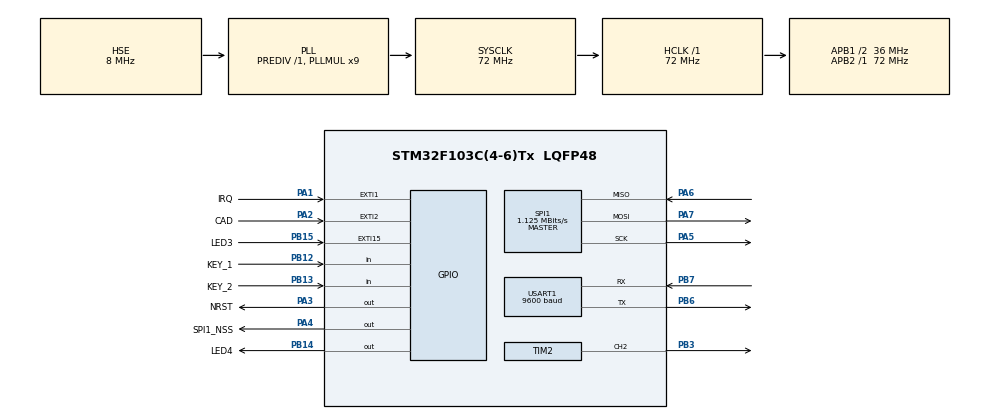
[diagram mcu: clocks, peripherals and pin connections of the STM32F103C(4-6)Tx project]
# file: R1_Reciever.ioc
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Mcu.Family=STM32F1
Mcu.Name=STM32F103C(4-6)Tx
Mcu.Package=LQFP48
NVIC.EXTI15_10_IRQn=true\:0\:0\:false\:false\:true\:true\:true\:true
NVIC.PriorityGroup=NVIC_PRIORITYGROUP_4
NVIC.TIM1_UP_IRQn=true\:0\:0\:false\:false\:true\:true\:true\:true
NVIC.USART1_IRQn=true\:0\:0\:false\:false\:true\:true\:true\:true
PA1.GPIO_Label=IRQ
PA1.Signal=GPXTI1
PA13.Mode=Serial_Wire
PA13.Signal=SYS_JTMS-SWDIO
PA14.Mode=Serial_Wire
PA14.Signal=SYS_JTCK-SWCLK
PA2.GPIO_Label=CAD
PA2.Signal=GPXTI2
PA3.GPIO_Label=NRST
PA3.GPIO_PuPd=GPIO_PULLUP
PA3.PinState=GPIO_PIN_SET
PA3.Signal=GPIO_Output
PA4.GPIO_Label=SPI1_NSS
PA4.PinState=GPIO_PIN_SET
PA4.Signal=GPIO_Output
PA5.Mode=Full_Duplex_Master
PA5.Signal=SPI1_SCK
PA6.Mode=Full_Duplex_Master
PA6.Signal=SPI1_MISO
PA7.Mode=Full_Duplex_Master
PA7.Signal=SPI1_MOSI
PB12.GPIO_Label=KEY_1
PB12.Signal=GPIO_Input
PB13.GPIO_Label=KEY_2
PB13.Signal=GPIO_Input
PB14.GPIO_Label=LED4
PB14.Signal=GPIO_Output
PB15.GPIO_Label=LED3
PB15.Signal=GPXTI15
PB3.Signal=S_TIM2_CH2
PB6.Mode=Asynchronous
PB6.Signal=USART1_TX
PB7.Mode=Asynchronous
PB7.Signal=USART1_RX
PD0-OSC_IN.Mode=HSE-External-Oscillator
PD0-OSC_IN.Signal=RCC_OSC_IN
PD1-OSC_OUT.Mode=HSE-External-Oscillator
PD1-OSC_OUT.Signal=RCC_OSC_OUT
ProjectManager.HeapSize=0x200
ProjectManager.StackSize=0x400
ProjectManager.TargetToolchain=CMake
RCC.AHBFreq_Value=72000000
RCC.APB1CLKDivider=RCC_HCLK_DIV2
RCC.APB1Freq_Value=36000000
RCC.APB1TimFreq_Value=72000000
RCC.APB2Freq_Value=72000000
RCC.APB2TimFreq_Value=72000000
RCC.HCLKFreq_Value=72000000
RCC.PLLMUL=RCC_PLL_MUL9
RCC.PLLSourceVirtual=RCC_PLLSOURCE_HSE
RCC.SYSCLKFreq_VALUE=72000000
RCC.SYSCLKSource=RCC_SYSCLKSOURCE_PLLCLK
RCC.USBFreq_Value=72000000
SH.S_TIM2_CH2.0=TIM2_CH2,PWM Generation2 CH2
SPI1.BaudRatePrescaler=SPI_BAUDRATEPRESCALER_64
SPI1.CalculateBaudRate=1.125 MBits/s
SPI1.Direction=SPI_DIRECTION_2LINES
SPI1.Mode=SPI_MODE_MASTER
SPI1.VirtualType=VM_MASTER
TIM1.Period=200-1
TIM1.Prescaler=7200-1
TIM2.Channel-PWM\ Generation2\ CH2=TIM_CHANNEL_2
TIM2.Period=300-1
TIM2.Prescaler=72-1
TIM2.Pulse-PWM\ Generation2\ CH2=150-1
USART1.BaudRate=9600
USART1.VirtualMode=VM_ASYNC
VP_TIM1_VS_ClockSourceINT.Mode=Internal
board=custom

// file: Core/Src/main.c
/* USER CODE BEGIN Header */
/**
  ******************************************************************************
  * @file           : main.c
  * @brief          : Main program body
  ******************************************************************************
  * @attention
  *
  * Copyright (c) 2026 STMicroelectronics.
  * All rights reserved.
  *
  * This software is licensed under terms that can be found in the LICENSE file
  * in the root directory of this software component.
  * If no LICENSE file comes with this software, it is provided AS-IS.
  *
  ******************************************************************************
  */
/* USER CODE END Header */
#include "main.h"
#include "spi.h"
#include "tim.h"
#include "usart.h"
#include "gpio.h"

/* USER CODE BEGIN Includes */
#include "e290_demo.h"
#include "e290_hal.h"
#include "pan_param.h"
#include "pan_rf.h"
#include"pan_port.h"
extern struct RxDoneMsg RxDoneParams;
/* USER CODE END Includes */

/* USER CODE BEGIN PD */
uint8_t conFlag = 0;//连接状态标志，0表示未连接，1表示已连接
uint8_t Rxdata[11] = {0,1,2,3};
uint8_t Txdata[13] = {0};
volatile uint8_t rf_irq_pending = 0;//中断标志，1表示有中断发生，0表示没有中断发生
uint32_t time = 0;

uint8_t error = 0;
/* USER CODE END PD */

void SystemClock_Config(void);

int main(void)
{

  /* MCU Configuration--------------------------------------------------------*/

  /* Reset of all peripherals, Initializes the Flash interface and the Systick. */
  HAL_Init();

  /* Configure the system clock */
  SystemClock_Config();

  /* Initialize all configured peripherals */
  MX_GPIO_Init();
  MX_SPI1_Init();
  MX_USART1_UART_Init();
  MX_TIM2_Init();
  MX_TIM1_Init();
  /* USER CODE BEGIN 2 */
  HAL_TIM_Base_Start(&htim2);
  //开机reset通信模块
  HAL_GPIO_WritePin(GPIOA, GPIO_PIN_3, GPIO_PIN_RESET);
  HAL_Delay(10);
  HAL_GPIO_WritePin(GPIOA, GPIO_PIN_3, GPIO_PIN_SET);

  rf_init();
  rf_set_default_para();
  //rf_enter_continous_tx();//设置为连续发送模式
  HAL_TIM_Base_Start_IT(&htim1);
  HAL_UART_Receive_IT(&huart1, Rxdata, 11);//开启串口接收中断
  /* USER CODE END 2 */

  /* Infinite loop */
  /* USER CODE BEGIN WHILE */
  while (1)
  {
    rf_single_tx_data(Rxdata, 11, &time);
    HAL_Delay(100);
    /* USER CODE END WHILE */

  }
}

void SystemClock_Config(void)
{
  RCC_OscInitTypeDef RCC_OscInitStruct = {0};
  RCC_ClkInitTypeDef RCC_ClkInitStruct = {0};

  /** Initializes the RCC Oscillators according to the specified parameters
  * in the RCC_OscInitTypeDef structure.
  */
  RCC_OscInitStruct.OscillatorType = RCC_OSCILLATORTYPE_HSE;
  RCC_OscInitStruct.HSEState = RCC_HSE_ON;
  RCC_OscInitStruct.HSEPredivValue = RCC_HSE_PREDIV_DIV1;
  RCC_OscInitStruct.HSIState = RCC_HSI_ON;
  RCC_OscInitStruct.PLL.PLLState = RCC_PLL_ON;
  RCC_OscInitStruct.PLL.PLLSource = RCC_PLLSOURCE_HSE;
  RCC_OscInitStruct.PLL.PLLMUL = RCC_PLL_MUL9;
  if (HAL_RCC_OscConfig(&RCC_OscInitStruct) != HAL_OK)
  {
    Error_Handler();
  }

  /** Initializes the CPU, AHB and APB buses clocks
  */
  RCC_ClkInitStruct.ClockType = RCC_CLOCKTYPE_HCLK|RCC_CLOCKTYPE_SYSCLK
                              |RCC_CLOCKTYPE_PCLK1|RCC_CLOCKTYPE_PCLK2;
  RCC_ClkInitStruct.SYSCLKSource = RCC_SYSCLKSOURCE_PLLCLK;
  RCC_ClkInitStruct.AHBCLKDivider = RCC_SYSCLK_DIV1;
  RCC_ClkInitStruct.APB1CLKDivider = RCC_HCLK_DIV2;
  RCC_ClkInitStruct.APB2CLKDivider = RCC_HCLK_DIV1;

  if (HAL_RCC_ClockConfig(&RCC_ClkInitStruct, FLASH_LATENCY_2) != HAL_OK)
  {
    Error_Handler();
  }
}

/* USER CODE BEGIN 4 */
void HAL_GPIO_EXTI_Callback(uint16_t GPIO_Pin)
{
  if (GPIO_Pin == IRQ_Pin)
  {
    rf_irq_pending = 1;
  }
}

void HAL_TIM_PeriodElapsedCallback(TIM_HandleTypeDef *htim)
{
  if (htim->Instance == TIM1)
  {

  }
}

void HAL_UART_RxCpltCallback(UART_HandleTypeDef *huart)
{
  if (huart->Instance == USART1)
  {
    //rf_single_tx(Rxdata, 11);
    //HAL_UART_Receive_IT(&huart1, Rxdata, 11);
  }
}
/* USER CODE END 4 */

void Error_Handler(void)
{
  __disable_irq();
  while (1)
  {
  }
}
